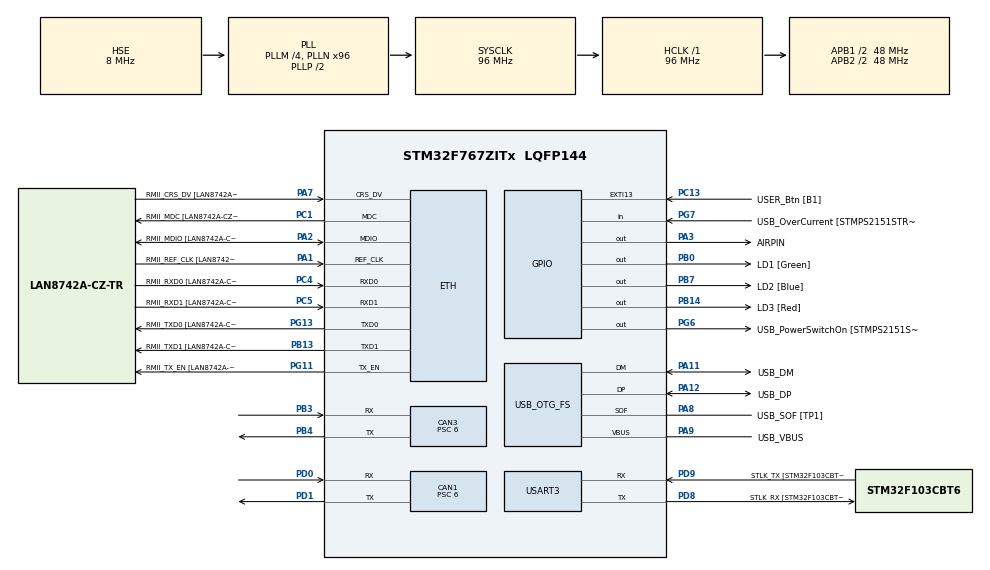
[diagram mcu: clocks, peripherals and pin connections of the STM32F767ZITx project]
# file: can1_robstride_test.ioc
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CAN1.BS1=CAN_BS1_6TQ
CAN1.CalculateBaudRate=1000000
CAN1.CalculateTimeBit=1000
CAN1.CalculateTimeQuantum=125.0
CAN1.Prescaler=6
CAN1.TXFP=ENABLE
CAN3.BS1=CAN_BS1_6TQ
CAN3.CalculateBaudRate=1000000
CAN3.CalculateTimeBit=1000
CAN3.CalculateTimeQuantum=125.0
CAN3.Prescaler=6
CAN3.TXFP=ENABLE
Dma.Request0=USART3_TX
Dma.USART3_TX.0.Direction=DMA_MEMORY_TO_PERIPH
Dma.USART3_TX.0.FIFOMode=DMA_FIFOMODE_DISABLE
Dma.USART3_TX.0.Instance=DMA1_Stream3
Dma.USART3_TX.0.MemDataAlignment=DMA_MDATAALIGN_BYTE
Dma.USART3_TX.0.MemInc=DMA_MINC_ENABLE
Dma.USART3_TX.0.Mode=DMA_NORMAL
Dma.USART3_TX.0.PeriphDataAlignment=DMA_PDATAALIGN_BYTE
Dma.USART3_TX.0.PeriphInc=DMA_PINC_DISABLE
Dma.USART3_TX.0.Priority=DMA_PRIORITY_LOW
ETH.MediaInterface=HAL_ETH_RMII_MODE
ETH.PHY_Name=LAN8742A_PHY_ADDRESS
ETH.PHY_Value=0
ETH.PhyAddress=0
Mcu.Family=STM32F7
Mcu.Name=STM32F767ZITx
Mcu.Package=LQFP144
NVIC.CAN1_RX0_IRQn=true\:0\:0\:false\:false\:true\:true\:true\:true
NVIC.CAN1_RX1_IRQn=true\:0\:0\:false\:false\:true\:true\:true\:true
NVIC.CAN1_TX_IRQn=true\:0\:0\:false\:false\:true\:true\:true\:true
NVIC.CAN3_RX0_IRQn=true\:0\:0\:false\:false\:true\:true\:true\:true
NVIC.CAN3_RX1_IRQn=true\:0\:0\:false\:false\:true\:true\:true\:true
NVIC.CAN3_TX_IRQn=true\:0\:0\:false\:false\:true\:true\:true\:true
NVIC.DMA1_Stream3_IRQn=true\:0\:0\:false\:false\:true\:false\:true\:true
NVIC.PriorityGroup=NVIC_PRIORITYGROUP_4
NVIC.USART3_IRQn=true\:0\:0\:false\:false\:true\:true\:true\:true
PA1.GPIO_Label=RMII_REF_CLK [LAN8742A-CZ-TR_REFCLK0]
PA1.Mode=RMII
PA1.Signal=ETH_REF_CLK
PA10.GPIO_Label=USB_ID
PA10.Signal=USB_OTG_FS_ID
PA11.GPIO_Label=USB_DM
PA11.Mode=Device_Only
PA11.Signal=USB_OTG_FS_DM
PA12.GPIO_Label=USB_DP
PA12.Mode=Device_Only
PA12.Signal=USB_OTG_FS_DP
PA13.GPIO_Label=TMS
PA13.Mode=Serial_Wire
PA13.Signal=SYS_JTMS-SWDIO
PA14.GPIO_Label=TCK
PA14.Mode=Serial_Wire
PA14.Signal=SYS_JTCK-SWCLK
PA2.GPIO_Label=RMII_MDIO [LAN8742A-CZ-TR_MDIO]
PA2.Mode=RMII
PA2.Signal=ETH_MDIO
PA3.GPIO_Label=AIRPIN
PA3.Signal=GPIO_Output
PA7.GPIO_Label=RMII_CRS_DV [LAN8742A-CZ-TR_CRS_DV]
PA7.Mode=RMII
PA7.Signal=ETH_CRS_DV
PA8.GPIO_Label=USB_SOF [TP1]
PA8.Mode=Activate_SOF_FS
PA8.Signal=USB_OTG_FS_SOF
PA9.GPIO_Label=USB_VBUS
PA9.Mode=Activate_VBUS
PA9.Signal=USB_OTG_FS_VBUS
PB0.GPIO_Label=LD1 [Green]
PB0.Signal=GPIO_Output
PB13.GPIO_Label=RMII_TXD1 [LAN8742A-CZ-TR_TXD1]
PB13.Mode=RMII
PB13.Signal=ETH_TXD1
PB14.GPIO_Label=LD3 [Red]
PB14.Signal=GPIO_Output
PB3.Mode=CAN_Activate
PB3.Signal=CAN3_RX
PB4.Mode=CAN_Activate
PB4.Signal=CAN3_TX
PB7.GPIO_Label=LD2 [Blue]
PB7.Signal=GPIO_Output
PC1.GPIO_Label=RMII_MDC [LAN8742A-CZ-TR_MDC]
PC1.Mode=RMII
PC1.Signal=ETH_MDC
PC13.GPIO_Label=USER_Btn [B1]
PC13.Signal=GPXTI13
PC14/OSC32_IN.Mode=LSE-External-Oscillator
PC14/OSC32_IN.Signal=RCC_OSC32_IN
PC15/OSC32_OUT.Mode=LSE-External-Oscillator
PC15/OSC32_OUT.Signal=RCC_OSC32_OUT
PC4.GPIO_Label=RMII_RXD0 [LAN8742A-CZ-TR_RXD0]
PC4.Mode=RMII
PC4.Signal=ETH_RXD0
PC5.GPIO_Label=RMII_RXD1 [LAN8742A-CZ-TR_RXD1]
PC5.Mode=RMII
PC5.Signal=ETH_RXD1
PD0.Mode=CAN_Activate
PD0.Signal=CAN1_RX
PD1.Mode=CAN_Activate
PD1.Signal=CAN1_TX
PD8.GPIO_Label=STLK_RX [STM32F103CBT6_PA3]
PD8.Mode=Asynchronous
PD8.Signal=USART3_TX
PD9.GPIO_Label=STLK_TX [STM32F103CBT6_PA2]
PD9.Mode=Asynchronous
PD9.Signal=USART3_RX
PG11.GPIO_Label=RMII_TX_EN [LAN8742A-CZ-TR_TXEN]
PG11.Mode=RMII
PG11.Signal=ETH_TX_EN
PG13.GPIO_Label=RMII_TXD0 [LAN8742A-CZ-TR_TXD0]
PG13.Mode=RMII
PG13.Signal=ETH_TXD0
PG6.GPIO_Label=USB_PowerSwitchOn [STMPS2151STR_EN]
PG6.Signal=GPIO_Output
PG7.GPIO_Label=USB_OverCurrent [STMPS2151STR_FAULT]
PG7.Signal=GPIO_Input
PH0/OSC_IN.GPIO_Label=MCO [STM32F103CBT6_PA8]
PH0/OSC_IN.Mode=HSE-External-Clock-Source
PH0/OSC_IN.Signal=RCC_OSC_IN
PH1/OSC_OUT.Mode=HSE-External-Clock-Source
PH1/OSC_OUT.Signal=RCC_OSC_OUT
ProjectManager.HeapSize=0x200
ProjectManager.StackSize=0x400
ProjectManager.TargetToolchain=STM32CubeIDE
RCC.48MHZClocksFreq_Value=24000000
RCC.AHBFreq_Value=96000000
RCC.APB1CLKDivider=RCC_HCLK_DIV2
RCC.APB1Freq_Value=48000000
RCC.APB1TimFreq_Value=96000000
RCC.APB2CLKDivider=RCC_HCLK_DIV2
RCC.APB2Freq_Value=48000000
RCC.APB2TimFreq_Value=96000000
RCC.CortexFreq_Value=96000000
RCC.HCLKFreq_Value=96000000
RCC.HSE_VALUE=8000000
RCC.HSI_VALUE=16000000
RCC.PLLM=4
RCC.PLLMUL=RCC_PLL_MUL9
RCC.PLLN=96
RCC.PLLQ=4
RCC.PRESCALERUSB=RCC_USBCLKSOURCE_PLL_DIV1_5
RCC.SYSCLKFreq_VALUE=96000000
RCC.SYSCLKSource=RCC_SYSCLKSOURCE_PLLCLK
RCC.SYSCLKSourceVirtual=RCC_SYSCLKSOURCE_PLLCLK
RCC.USBFreq_Value=48000000
RCC.VCOOutputFreq_Value=192000000
USART3.VirtualMode-Asynchronous=VM_ASYNC
USB_OTG_FS.VirtualMode=Device_Only
board=NUCLEO-F767ZI

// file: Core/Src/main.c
/* USER CODE BEGIN Header */
/**
  ******************************************************************************
  * @file           : main.c
  * @brief          : Main program body
  ******************************************************************************
  * @attention
  *
  * Copyright (c) 2025 STMicroelectronics.
  * All rights reserved.
  *
  * This software is licensed under terms that can be found in the LICENSE file
  * in the root directory of this software component.
  * If no LICENSE file comes with this software, it is provided AS-IS.
  *
  ******************************************************************************
  */
/* USER CODE END Header */
#include "main.h"
#include "string.h"

/* USER CODE BEGIN Includes */
#include "stdio.h"
#include "stdlib.h"
#include "stdbool.h"
#include "math.h"
#include "CAN_Robstride_Def.h"
#include "CAN_Robstride.h"
#include "CAN_Robstride_System.h"
/* USER CODE END Includes */

#if defined ( __ICCARM__ ) /*!< IAR Compiler */
#pragma location=0x2007c000
ETH_DMADescTypeDef  DMARxDscrTab[ETH_RX_DESC_CNT]; /* Ethernet Rx DMA Descriptors */
#pragma location=0x2007c0a0
ETH_DMADescTypeDef  DMATxDscrTab[ETH_TX_DESC_CNT]; /* Ethernet Tx DMA Descriptors */

#elif defined ( __CC_ARM )  /* MDK ARM Compiler */

__attribute__((at(0x2007c000))) ETH_DMADescTypeDef  DMARxDscrTab[ETH_RX_DESC_CNT]; /* Ethernet Rx DMA Descriptors */
__attribute__((at(0x2007c0a0))) ETH_DMADescTypeDef  DMATxDscrTab[ETH_TX_DESC_CNT]; /* Ethernet Tx DMA Descriptors */

#elif defined ( __GNUC__ ) /* GNU Compiler */

ETH_DMADescTypeDef DMARxDscrTab[ETH_RX_DESC_CNT] __attribute__((section(".RxDecripSection"))); /* Ethernet Rx DMA Descriptors */
ETH_DMADescTypeDef DMATxDscrTab[ETH_TX_DESC_CNT] __attribute__((section(".TxDecripSection")));   /* Ethernet Tx DMA Descriptors */
#endif

ETH_TxPacketConfig TxConfig;

CAN_HandleTypeDef hcan1;
CAN_HandleTypeDef hcan3;

ETH_HandleTypeDef heth;

UART_HandleTypeDef huart3;
DMA_HandleTypeDef hdma_usart3_tx;

PCD_HandleTypeDef hpcd_USB_OTG_FS;

/* USER CODE BEGIN PV */
uint8_t master_can_id;
Robstride_DeviceInfo *robstride_dev_info_global;
Robstride_FeedbackData *robstride_fb;
uint8_t num_of_robstride;
float throw_angle = M_PI/6.0;
float release_velocity = 3.0*M_PI;
float target_velocity = 0.0f;
float target_before = 0.0f;;
float target_angular_velocity = 0.0f;
float initial_angle=0.0*M_PI/6.0;
bool release_complete = true;
bool load_complete = false;
bool throw_complete = false;
bool throw_test=false;
int velocity_count = 0;
float velocity_fb[3];
int step=1500;
/* USER CODE END PV */

void SystemClock_Config(void);
static void MX_GPIO_Init(void);
static void MX_DMA_Init(void);
static void MX_USART3_UART_Init(void);
static void MX_ETH_Init(void);
static void MX_USB_OTG_FS_PCD_Init(void);
static void MX_CAN1_Init(void);
static void MX_CAN3_Init(void);

/* USER CODE BEGIN 0 */
#ifdef __GNUC__
#define PUTCHAR_PROTOTYPE int __io_putchar(uint8_t ch)
#else
#define PUTCHAR_PROTOTYPE int fputc(int ch, FILE *f)
#endif /* __GNUC__ */

PUTCHAR_PROTOTYPE {
    HAL_UART_Transmit(&huart3, &ch, 1, 500);
    return ch;
}

void HAL_CAN_TxMailbox0CompleteCallback(CAN_HandleTypeDef *hcan){
//	printf("CAN_TxMailbox0CompleteCallback\n\r");
	Robstride_WhenTxMailboxCompleteCallbackCalled(hcan);
}

void HAL_CAN_TxMailbox0AbortCallback(CAN_HandleTypeDef *hcan){
//	printf("CAN_TxMailbox0AbortCallback\n\r");
	Robstride_WhenTxMailboxAbortCallbackCalled(hcan);
}

void HAL_CAN_TxMailbox1CompleteCallback(CAN_HandleTypeDef *hcan){
//	printf("CAN_TxMailbox1CompleteCallback\n\r");
	Robstride_WhenTxMailboxCompleteCallbackCalled(hcan);
}

void HAL_CAN_TxMailbox1AbortCallback(CAN_HandleTypeDef *hcan){
//	printf("CAN_TxMailbox1AbortCallback\n\r");
	Robstride_WhenTxMailboxAbortCallbackCalled(hcan);
}

void HAL_CAN_TxMailbox2CompleteCallback(CAN_HandleTypeDef *hcan){
//	printf("CAN_TxMailbox2CompleteCallback\n\r");
	Robstride_WhenTxMailboxCompleteCallbackCalled(hcan);
}

void HAL_CAN_TxMailbox2AbortCallback(CAN_HandleTypeDef *hcan){
//	printf("CAN_TxMailbox2AbortCallback\n\r");
    Robstride_WhenTxMailboxAbortCallbackCalled(hcan);
}

void HAL_CAN_RxFifo1MsgPendingCallback(CAN_HandleTypeDef *hcan){
//	printf("CAN_RxFifo1MsgPendingCallback\n\r");
    Robstride_WhenCANRxFifo1MsgPending(hcan);
}
/* USER CODE END 0 */

int main(void)
{

  /* MCU Configuration--------------------------------------------------------*/

  /* Reset of all peripherals, Initializes the Flash interface and the Systick. */
  HAL_Init();

  /* Configure the system clock */
  SystemClock_Config();

  /* Initialize all configured peripherals */
  MX_GPIO_Init();
  MX_DMA_Init();
  MX_USART3_UART_Init();
  MX_ETH_Init();
  MX_USB_OTG_FS_PCD_Init();
  MX_CAN1_Init();
  MX_CAN3_Init();
  /* USER CODE BEGIN 2 */
  num_of_robstride=1;
  robstride_dev_info_global=malloc(sizeof(Robstride_DeviceInfo)*num_of_robstride);
  robstride_fb=malloc(sizeof(Robstride_FeedbackData)* num_of_robstride);
  Init_Robstride_CAN_System(&hcan3);
  Robstride_Init(robstride_dev_info_global, num_of_robstride);

  if(num_of_robstride>=1){
	  for (int i = 0; i < num_of_robstride; i++) {
		  robstride_dev_info_global[i].device_id = i+1;
		  robstride_dev_info_global[i].master_id = master_can_id;
		  robstride_dev_info_global[i].device = Robstride_02;
		  robstride_dev_info_global[i].phcan = &hcan3;
		  robstride_dev_info_global[i].ctrl_param.use_internal_offset = ROBSTRIDE_USE_OFFSET_POS_INITIAL;
		  robstride_dev_info_global[i].ctrl_param.offset_pos = 2.0*M_PI;
//		  robstride_dev_info_global[i].ctrl_param.ctrl_type = ROBSTRIDE_CTRL_OPERATION;
		  robstride_dev_info_global[i].ctrl_param.ctrl_type = ROBSTRIDE_CTRL_VEL;
		  robstride_dev_info_global[i].ctrl_param.velocity_limit = ROBSTRIDE_VELOCITY_LIMIT_DISABLE;
		  robstride_dev_info_global[i].ctrl_param.current_limit = ROBSTRIDE_CURRENT_LIMIT_DISABLE;
		  robstride_dev_info_global[i].ctrl_param.torque_limit = ROBSTRIDE_TORQUE_LIMIT_DISABLE;
		  robstride_dev_info_global[i].ctrl_param.rotation = ROBSTRIDE_ROT_CW;
		  robstride_dev_info_global[i].ctrl_param.velocity_limit_size = 5.0*M_PI;
		  robstride_dev_info_global[i].ctrl_param.current_limit_size = 0.5f;
		  robstride_dev_info_global[i].ctrl_param.torque_limit_size = 10.0f;
		  robstride_dev_info_global[i].ctrl_param.quant_per_rot = 1.0f;
		  robstride_dev_info_global[i].ctrl_param.pid.kp_pos = 3.0f;
		  robstride_dev_info_global[i].ctrl_param.pid.kp_vel = 6.0f;
		  robstride_dev_info_global[i].ctrl_param.pid.ki_vel = 1.0f;
		  robstride_dev_info_global[i].ctrl_param.pid.filter_vel = 0.06f;
		  robstride_dev_info_global[i].ctrl_param.pid.kp_cur = 0.05f;
		  robstride_dev_info_global[i].ctrl_param.pid.ki_cur = 0.05f;
		  robstride_dev_info_global[i].ctrl_param.pid.filter_cur = 0.06f;
		  Robstride_Calibration(&robstride_dev_info_global[i], 1.0f, ROBSTRIDE_SWITCH_NO, GPIOB, GPIO_PIN_0, &hcan3);
		  Robstride_PresetParameters(&robstride_dev_info_global[i]);
//		  Robstride_SetAutoFeedback(&robstride_dev_info_global[i]);
	 }
	 Robstride_WaitForConnect(robstride_dev_info_global, num_of_robstride);
	 for(int i=0; i<num_of_robstride; i++){
		 Robstride_ControlEnable(&robstride_dev_info_global[i]);
	  	 Robstride_SetVelocityLimit(&robstride_dev_info_global[i]);
	  	 Robstride_SetCurrentLimit(&robstride_dev_info_global[i]);
	  	 Robstride_SetTorqueLimit(&robstride_dev_info_global[i]);
//	  	 Robstride_RequestID(&robstride_dev_info_global[i]);
	 }
  }
  int accel_count = 0;
  load_complete=true;
  /* USER CODE END 2 */

  /* Infinite loop */
  /* USER CODE BEGIN WHILE */
  while (1)
  {
	  for(int i=0; i<num_of_robstride; i++){
		  robstride_fb[i] = Get_Robstride_FeedbackData(&robstride_dev_info_global[i]);
//		  printf("vel:%f\n\r", robstride_fb[i].velocity);
//		  printf("cur:%f\n\r", robstride_fb[i].current);
//		  printf("pos:%f\n\r", robstride_fb[i].position);
//		  printf("torque:%f\n\r", robstride_fb[i].torque);
//		  accel_count++;
//		  Robstride_SetTarget(&robstride_dev_info_global[0], 5.0*M_PI*accel_count/(float)step);
//		  Robstride_PID_Pos(&robstride_dev_info_global[i], 10.0*M_PI);
//		  Robstride_RequestID(&robstride_dev_info_global[i]);
//		  printf("MCU_ID:%d\n\r", robstride_fb[i].mcu_id);
//		  Robstride_SetTarget_Operation(&robstride_dev_info_global[i], 0.3f, M_PI*3.0, -M_PI/8.0, 3.0f, 3.0f);
		  Robstride_SetTarget(&robstride_dev_info_global[i], 4.0*M_PI);
//		  HAL_Delay(1000);
	  }
//	  robstride_fb[0] = Get_Robstride_FeedbackData(&robstride_dev_info_global[0]);
//	  float now_arm=robstride_fb[0].position+initial_angle;
//	  	  float now_angle=fmodf(now_arm, 2*M_PI);
//	  	  printf("now_angle:%f\n\r", now_angle);
//	  	  	  float now_angular_velocity=robstride_fb[0].velocity;
//	  	  	  float throw_arm_angle=3.0*M_PI/2.0+throw_angle-initial_angle;
//	  	  	printf("throw_arm_angle:%f\n\r", throw_arm_angle);
//	  	  	  velocity_fb[2]=velocity_fb[1];
//	  	  	  velocity_fb[1]=velocity_fb[0];
//	  	  	  velocity_fb[0]=now_angular_velocity;
//	  	  	  load_complete = true;
//	  	  	  if(!throw_complete){
//	  	  		target_angular_velocity = release_velocity;
//	  	  			  	  				for(int i=0; i<2; i++){
//	  	  			  	  			if(accel_count<step){
//	  	  			  	  				  	  			  	  				accel_count++;
//	  	  			  	  				  	  			  	  				}
//	  	  			  	  				}
//	  	  			  	  				if (velocity_fb[0] - release_velocity >= -0.2*M_PI
//	  	  			  	  					  					&& velocity_fb[0] - release_velocity <= 0.2*M_PI
//	  	  			  	  					  					&& velocity_fb[1] - release_velocity >= -0.2*M_PI
//	  	  			  	  					  					&& velocity_fb[1] - release_velocity <= 0.2*M_PI
//	  	  			  	  					  					&& velocity_fb[2] - release_velocity >= -0.2*M_PI
//	  	  			  	  					  					&& velocity_fb[2] - release_velocity <= 0.2*M_PI
//	  	  			  	  					  					&& now_angle - throw_arm_angle >= -0.025*M_PI
//	  	  			  	  					  					&& now_angle - throw_arm_angle <= 0.025*M_PI) {
//	  	  			  	  									HAL_GPIO_TogglePin(GPIOB, GPIO_PIN_14);  // LD3 (RED) -> ON
//	  	  			  	  					  				HAL_GPIO_WritePin(AIRPIN_GPIO_Port, AIRPIN_Pin, GPIO_PIN_SET);
//	  	  			  	  					  				throw_complete = true;
//	  	  			  	  					  				HAL_Delay(1000);
//	  	  			  	  					  			}
////	  	  		  if(!load_complete){
////	  	  				if (now_angle / (3.0 * M_PI / 4.0) >= 0.9 && now_angle / (3.0 * M_PI / 4.0) <= 1.1) {
////	  	  					HAL_GPIO_WritePin(AIRPIN_GPIO_Port, AIRPIN_Pin, GPIO_PIN_SET);
////	  //	  					HAL_GPIO_WritePin(Air_Load_GPIO_Port, Air_Load_Pin, GPIO_PIN_SET);
////	  //	  					pid_flag = false;
////	  	  					target_angular_velocity = M_PI/24.0;
////	  	  				} else if (now_angle / (5.0 * M_PI / 4.0) >= 0.9 && now_angle / (5.0 * M_PI / 4.0) <= 1.1) {
////	  	  					HAL_GPIO_WritePin(AIRPIN_GPIO_Port, AIRPIN_Pin, GPIO_PIN_RESET);
////	  	  					load_complete = true;
////	  	  					target_angular_velocity = release_velocity;
////	  //	  					osDelay(500);
////	  //	  					HAL_GPIO_WritePin(Air_Load_GPIO_Port, Air_Load_Pin, GPIO_PIN_RESET);
////	  	  				}
////	  	  			} else{
////	  	  				target_angular_velocity = release_velocity;
////	  	  				if(accel_count<step){
////	  	  				accel_count++;
////	  	  				}
////	  	  				if (velocity_fb[0] / release_velocity >= 0.9
////	  	  					  					&& velocity_fb[0] / release_velocity <= 1.1
////	  	  					  					&& velocity_fb[1] / release_velocity >= 0.9
////	  	  					  					&& velocity_fb[1] / release_velocity <= 1.1
////	  	  					  					&& velocity_fb[2] / release_velocity >= 0.9
////	  	  					  					&& velocity_fb[2] / release_velocity <= 1.1
////	  	  					  					&& now_angle / throw_arm_angle >= 0.9
////	  	  					  					&& now_angle / throw_arm_angle <= 1.1) {
////	  	  					  				HAL_GPIO_WritePin(AIRPIN_GPIO_Port, AIRPIN_Pin, GPIO_PIN_SET);
////	  	  					  				throw_complete = true;
////	  	  					  				HAL_Delay(1000);
////	  	  					  			}
////	  	  			}
//	  	  	  }else{
//	  	  		if(accel_count>0){
//	  	  			  	  				  	  			accel_count --;
//	  	  			  	  				  	  		  }
//	  	  	  }
//	  	  	  Robstride_SetTarget(&robstride_dev_info_global[0], target_angular_velocity*accel_count/(float)step);
    /* USER CODE END WHILE */

  }
}

void SystemClock_Config(void)
{
  RCC_OscInitTypeDef RCC_OscInitStruct = {0};
  RCC_ClkInitTypeDef RCC_ClkInitStruct = {0};

  /** Configure LSE Drive Capability
  */
  HAL_PWR_EnableBkUpAccess();

  /** Configure the main internal regulator output voltage
  */
  __HAL_RCC_PWR_CLK_ENABLE();
  __HAL_PWR_VOLTAGESCALING_CONFIG(PWR_REGULATOR_VOLTAGE_SCALE3);

  /** Initializes the RCC Oscillators according to the specified parameters
  * in the RCC_OscInitTypeDef structure.
  */
  RCC_OscInitStruct.OscillatorType = RCC_OSCILLATORTYPE_HSE;
  RCC_OscInitStruct.HSEState = RCC_HSE_BYPASS;
  RCC_OscInitStruct.PLL.PLLState = RCC_PLL_ON;
  RCC_OscInitStruct.PLL.PLLSource = RCC_PLLSOURCE_HSE;
  RCC_OscInitStruct.PLL.PLLM = 4;
  RCC_OscInitStruct.PLL.PLLN = 96;
  RCC_OscInitStruct.PLL.PLLP = RCC_PLLP_DIV2;
  RCC_OscInitStruct.PLL.PLLQ = 4;
  RCC_OscInitStruct.PLL.PLLR = 2;
  if (HAL_RCC_OscConfig(&RCC_OscInitStruct) != HAL_OK)
  {
    Error_Handler();
  }

  /** Activate the Over-Drive mode
  */
  if (HAL_PWREx_EnableOverDrive() != HAL_OK)
  {
    Error_Handler();
  }

  /** Initializes the CPU, AHB and APB buses clocks
  */
  RCC_ClkInitStruct.ClockType = RCC_CLOCKTYPE_HCLK|RCC_CLOCKTYPE_SYSCLK
                              |RCC_CLOCKTYPE_PCLK1|RCC_CLOCKTYPE_PCLK2;
  RCC_ClkInitStruct.SYSCLKSource = RCC_SYSCLKSOURCE_PLLCLK;
  RCC_ClkInitStruct.AHBCLKDivider = RCC_SYSCLK_DIV1;
  RCC_ClkInitStruct.APB1CLKDivider = RCC_HCLK_DIV2;
  RCC_ClkInitStruct.APB2CLKDivider = RCC_HCLK_DIV2;

  if (HAL_RCC_ClockConfig(&RCC_ClkInitStruct, FLASH_LATENCY_3) != HAL_OK)
  {
    Error_Handler();
  }
}

static void MX_CAN1_Init(void)
{

  hcan1.Instance = CAN1;
  hcan1.Init.Prescaler = 6;
  hcan1.Init.Mode = CAN_MODE_NORMAL;
  hcan1.Init.SyncJumpWidth = CAN_SJW_1TQ;
  hcan1.Init.TimeSeg1 = CAN_BS1_6TQ;
  hcan1.Init.TimeSeg2 = CAN_BS2_1TQ;
  hcan1.Init.TimeTriggeredMode = DISABLE;
  hcan1.Init.AutoBusOff = DISABLE;
  hcan1.Init.AutoWakeUp = DISABLE;
  hcan1.Init.AutoRetransmission = DISABLE;
  hcan1.Init.ReceiveFifoLocked = DISABLE;
  hcan1.Init.TransmitFifoPriority = ENABLE;
  if (HAL_CAN_Init(&hcan1) != HAL_OK)
  {
    Error_Handler();
  }

}

static void MX_CAN3_Init(void)
{

  hcan3.Instance = CAN3;
  hcan3.Init.Prescaler = 6;
  hcan3.Init.Mode = CAN_MODE_NORMAL;
  hcan3.Init.SyncJumpWidth = CAN_SJW_1TQ;
  hcan3.Init.TimeSeg1 = CAN_BS1_6TQ;
  hcan3.Init.TimeSeg2 = CAN_BS2_1TQ;
  hcan3.Init.TimeTriggeredMode = DISABLE;
  hcan3.Init.AutoBusOff = DISABLE;
  hcan3.Init.AutoWakeUp = DISABLE;
  hcan3.Init.AutoRetransmission = DISABLE;
  hcan3.Init.ReceiveFifoLocked = DISABLE;
  hcan3.Init.TransmitFifoPriority = ENABLE;
  if (HAL_CAN_Init(&hcan3) != HAL_OK)
  {
    Error_Handler();
  }

}

static void MX_ETH_Init(void)
{

   static uint8_t MACAddr[6];

  heth.Instance = ETH;
  MACAddr[0] = 0x00;
  MACAddr[1] = 0x80;
  MACAddr[2] = 0xE1;
  MACAddr[3] = 0x00;
  MACAddr[4] = 0x00;
  MACAddr[5] = 0x00;
  heth.Init.MACAddr = &MACAddr[0];
  heth.Init.MediaInterface = HAL_ETH_RMII_MODE;
  heth.Init.TxDesc = DMATxDscrTab;
  heth.Init.RxDesc = DMARxDscrTab;
  heth.Init.RxBuffLen = 1524;

  if (HAL_ETH_Init(&heth) != HAL_OK)
  {
    Error_Handler();
  }

  memset(&TxConfig, 0 , sizeof(ETH_TxPacketConfig));
  TxConfig.Attributes = ETH_TX_PACKETS_FEATURES_CSUM | ETH_TX_PACKETS_FEATURES_CRCPAD;
  TxConfig.ChecksumCtrl = ETH_CHECKSUM_IPHDR_PAYLOAD_INSERT_PHDR_CALC;
  TxConfig.CRCPadCtrl = ETH_CRC_PAD_INSERT;

}

static void MX_USART3_UART_Init(void)
{

  huart3.Instance = USART3;
  huart3.Init.BaudRate = 115200;
  huart3.Init.WordLength = UART_WORDLENGTH_8B;
  huart3.Init.StopBits = UART_STOPBITS_1;
  huart3.Init.Parity = UART_PARITY_NONE;
  huart3.Init.Mode = UART_MODE_TX_RX;
  huart3.Init.HwFlowCtl = UART_HWCONTROL_NONE;
  huart3.Init.OverSampling = UART_OVERSAMPLING_16;
  huart3.Init.OneBitSampling = UART_ONE_BIT_SAMPLE_DISABLE;
  huart3.AdvancedInit.AdvFeatureInit = UART_ADVFEATURE_NO_INIT;
  if (HAL_UART_Init(&huart3) != HAL_OK)
  {
    Error_Handler();
  }

}

static void MX_USB_OTG_FS_PCD_Init(void)
{

  hpcd_USB_OTG_FS.Instance = USB_OTG_FS;
  hpcd_USB_OTG_FS.Init.dev_endpoints = 6;
  hpcd_USB_OTG_FS.Init.speed = PCD_SPEED_FULL;
  hpcd_USB_OTG_FS.Init.dma_enable = DISABLE;
  hpcd_USB_OTG_FS.Init.phy_itface = PCD_PHY_EMBEDDED;
  hpcd_USB_OTG_FS.Init.Sof_enable = ENABLE;
  hpcd_USB_OTG_FS.Init.low_power_enable = DISABLE;
  hpcd_USB_OTG_FS.Init.lpm_enable = DISABLE;
  hpcd_USB_OTG_FS.Init.vbus_sensing_enable = ENABLE;
  hpcd_USB_OTG_FS.Init.use_dedicated_ep1 = DISABLE;
  if (HAL_PCD_Init(&hpcd_USB_OTG_FS) != HAL_OK)
  {
    Error_Handler();
  }

}

static void MX_DMA_Init(void)
{

  /* DMA controller clock enable */
  __HAL_RCC_DMA1_CLK_ENABLE();

  /* DMA interrupt init */
  /* DMA1_Stream3_IRQn interrupt configuration */
  HAL_NVIC_SetPriority(DMA1_Stream3_IRQn, 0, 0);
  HAL_NVIC_EnableIRQ(DMA1_Stream3_IRQn);

}

static void MX_GPIO_Init(void)
{
  GPIO_InitTypeDef GPIO_InitStruct = {0};

  /* GPIO Ports Clock Enable */
  __HAL_RCC_GPIOC_CLK_ENABLE();
  __HAL_RCC_GPIOH_CLK_ENABLE();
  __HAL_RCC_GPIOA_CLK_ENABLE();
  __HAL_RCC_GPIOB_CLK_ENABLE();
  __HAL_RCC_GPIOD_CLK_ENABLE();
  __HAL_RCC_GPIOG_CLK_ENABLE();

  /*Configure GPIO pin Output Level */
  HAL_GPIO_WritePin(AIRPIN_GPIO_Port, AIRPIN_Pin, GPIO_PIN_RESET);

  /*Configure GPIO pin Output Level */
  HAL_GPIO_WritePin(GPIOB, LD1_Pin|LD3_Pin|LD2_Pin, GPIO_PIN_RESET);

  /*Configure GPIO pin Output Level */
  HAL_GPIO_WritePin(USB_PowerSwitchOn_GPIO_Port, USB_PowerSwitchOn_Pin, GPIO_PIN_RESET);

  /*Configure GPIO pin : USER_Btn_Pin */
  GPIO_InitStruct.Pin = USER_Btn_Pin;
  GPIO_InitStruct.Mode = GPIO_MODE_IT_RISING;
  GPIO_InitStruct.Pull = GPIO_NOPULL;
  HAL_GPIO_Init(USER_Btn_GPIO_Port, &GPIO_InitStruct);

  /*Configure GPIO pin : AIRPIN_Pin */
  GPIO_InitStruct.Pin = AIRPIN_Pin;
  GPIO_InitStruct.Mode = GPIO_MODE_OUTPUT_PP;
  GPIO_InitStruct.Pull = GPIO_NOPULL;
  GPIO_InitStruct.Speed = GPIO_SPEED_FREQ_LOW;
  HAL_GPIO_Init(AIRPIN_GPIO_Port, &GPIO_InitStruct);

  /*Configure GPIO pins : LD1_Pin LD3_Pin LD2_Pin */
  GPIO_InitStruct.Pin = LD1_Pin|LD3_Pin|LD2_Pin;
  GPIO_InitStruct.Mode = GPIO_MODE_OUTPUT_PP;
  GPIO_InitStruct.Pull = GPIO_NOPULL;
  GPIO_InitStruct.Speed = GPIO_SPEED_FREQ_LOW;
  HAL_GPIO_Init(GPIOB, &GPIO_InitStruct);

  /*Configure GPIO pin : USB_PowerSwitchOn_Pin */
  GPIO_InitStruct.Pin = USB_PowerSwitchOn_Pin;
  GPIO_InitStruct.Mode = GPIO_MODE_OUTPUT_PP;
  GPIO_InitStruct.Pull = GPIO_NOPULL;
  GPIO_InitStruct.Speed = GPIO_SPEED_FREQ_LOW;
  HAL_GPIO_Init(USB_PowerSwitchOn_GPIO_Port, &GPIO_InitStruct);

  /*Configure GPIO pin : USB_OverCurrent_Pin */
  GPIO_InitStruct.Pin = USB_OverCurrent_Pin;
  GPIO_InitStruct.Mode = GPIO_MODE_INPUT;
  GPIO_InitStruct.Pull = GPIO_NOPULL;
  HAL_GPIO_Init(USB_OverCurrent_GPIO_Port, &GPIO_InitStruct);

}

void Error_Handler(void)
{
  __disable_irq();
  while (1)
  {
  }
}
